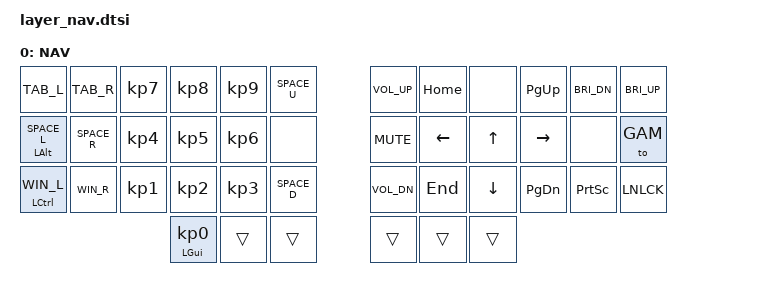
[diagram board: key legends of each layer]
/**
 * NAV Layer
 */

/ {
    keymap {
        compatible = "zmk,keymap";

        nav_layer {
            display-name = "NAV";
            bindings = <
// ╭───────────────┬───────────────┬───────────────┬───────────────┬───────────────┬───────────────╮   ╭───────────────┬───────────────┬───────────────┬───────────────┬───────────────┬───────────────╮
// │0              │1              │2              │3              │4              │5              │   │6              │7              │8              │9              │10             │11             │
    &kp TAB_L       &kp TAB_R       &kp KP_N7       &kp KP_N8       &kp KP_N9       &kp SPACE_U         &kp C_VOL_UP    &kp HOME        &none           &kp PG_UP       &kp C_BRI_DN    &kp C_BRI_UP
// ├───────────────├───────────────┼───────────────┼───────────────┼───────────────┼───────────────┤   ├───────────────├───────────────┼───────────────┼───────────────┼───────────────┼───────────────┤
// │12             │13             │14             │15             │16             │17             │   │18             │19             │20             │21             │22             │23             │
   &mt LALT SPACE_L &kp SPACE_R     &kp KP_N4       &kp KP_N5       &kp KP_N6       &none               &kp C_MUTE      &kp LEFT        &kp UP          &kp RIGHT       &none           &to GAM
// ├───────────────├───────────────┼───────────────┼───────────────┼───────────────┼───────────────┤   ├───────────────├───────────────┼───────────────┼───────────────┼───────────────┼───────────────┤
// │24             │25             │26             │27             │28             │29             │   │30             │31             │32             │33             │34             │35             │
    &mt LCTRL WIN_L &kp WIN_R       &kp KP_N1       &kp KP_N2       &kp KP_N3       &kp SPACE_D         &kp C_VOL_DN    &kp END         &kp DOWN        &kp PG_DN       &kp PSCRN       &kp LNLCK
// ╰───────────────┴───────────────┴───────────────┼───────────────┼───────────────┼───────────────┤   ├───────────────├───────────────┼───────────────┼───────────────┴───────────────┴───────────────╯
//                                                 │36             │37             │38             │   │39             │40             │41             │
                                                    &mt LGUI KP_N0  &trans          &trans              &trans          &trans          &trans
//                                                 ╰───────────────┴───────────────┴───────────────╯   ╰───────────────┴───────────────┴───────────────╯
            >;
        };
    };
};
